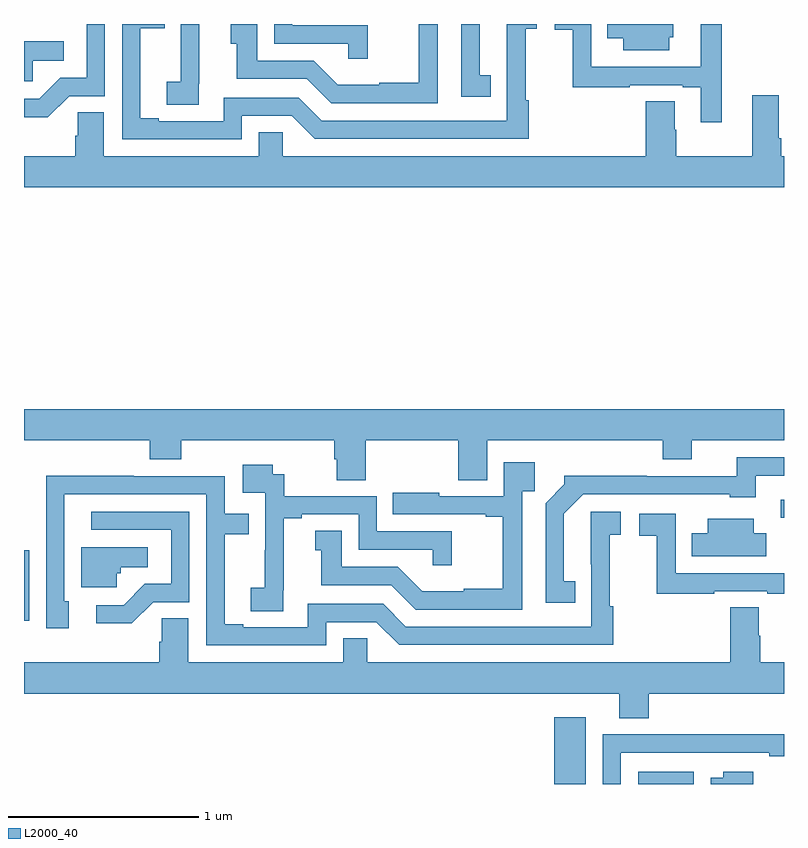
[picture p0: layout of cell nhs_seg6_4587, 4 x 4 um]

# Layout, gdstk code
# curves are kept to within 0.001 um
import gdstk
lib = gdstk.Library(unit=1e-6, precision=1e-09)
def R(c, l, rs):  # rectangles x0, y0, x1, y1
    for r in rs: c.add(gdstk.rectangle(r[:2], r[2:], *l))
def P(c, l, *ps):  # polygons
    for p in ps: c.add(gdstk.Polygon(p, *l))
L2000_40 = (2000, 40)

nhs_seg6_4587 = lib.new_cell('nhs_seg6_4587')
R(nhs_seg6_4587, L2000_40, [(383.792,973.5,383.956,973.852), (384.233,973.5,384.526,973.564), (381,974.358,381.027,974.731), (384.983,974.901,385,974.995)])
P(nhs_seg6_4587, L2000_40, [(384.673,977.5),(384.563,977.5),(384.563,977.274),(383.986,977.274),(383.986,977.275),(383.985,977.275),(383.985,977.5),(383.793,977.5),(383.793,977.47),(383.887,977.47),(383.887,977.166),(384.188,977.166),(384.188,977.178),(384.467,977.178),(384.467,977.166),(384.563,977.166),(384.563,976.983),(384.673,976.983)],
  [(382.808,977.493),(382.413,977.493),(382.413,977.5),(382.317,977.5),(382.317,977.397),(382.707,977.397),(382.707,977.316),(382.808,977.316)],
  [(383.178,977.5),(383.077,977.5),(383.077,977.191),(382.871,977.191),(382.871,977.179),(382.652,977.179),(382.524,977.307),(382.228,977.307),(382.228,977.498),(382.088,977.498),(382.088,977.395),(382.121,977.395),(382.121,977.211),(382.488,977.211),(382.617,977.082),(383.178,977.082)],
  [(381.92,977.185),(381.922,977.185),(381.922,977.5),(381.825,977.5),(381.825,977.393),(381.824,977.393),(381.824,977.196),(381.75,977.196),(381.75,977.074),(381.92,977.074)],
  [(383.456,977.231),(383.398,977.231),(383.398,977.5),(383.301,977.5),(383.301,977.118),(383.456,977.118)],
  [(382.146,977.016),(382.41,977.016),(382.53,976.896),(383.657,976.896),(383.657,977.099),(383.64,977.099),(383.64,977.475),(383.698,977.475),(383.698,977.5),(383.54,977.5),(383.541,976.992),(382.566,976.992),(382.446,977.112),(382.05,977.112),(382.05,976.989),(381.709,976.989),(381.709,977.004),(381.613,977.004),(381.613,977.478),(381.74,977.478),(381.74,977.5),(381.516,977.5),(381.516,976.893),(382.146,976.893)],
  [(384.397,977.43),(384.418,977.43),(384.418,977.5),(384.07,977.5),(384.07,977.426),(384.155,977.426),(384.155,977.363),(384.397,977.363)],
  [(381.237,977.121),(381.426,977.121),(381.426,977.5),(381.33,977.5),(381.33,977.217),(381.192,977.217),(381.081,977.106),(381,977.106),(381,977.009),(381.124,977.009)],
  [(381.045,977.306),(381.208,977.306),(381.208,977.41),(381,977.41),(381,977.199),(381.045,977.199)],
  [(385,976.804),(384.986,976.804),(384.986,976.9),(384.973,976.9),(384.973,977.125),(384.833,977.125),(384.833,976.804),(384.432,976.804),(384.432,976.943),(384.424,976.943),(384.424,977.093),(384.272,977.093),(384.272,976.804),(382.362,976.804),(382.362,976.931),(382.235,976.931),(382.235,976.804),(381.421,976.804),(381.421,977.036),(381.282,977.036),(381.282,976.913),(381.269,976.913),(381.269,976.804),(381,976.804),(381,976.64),(385,976.64)],
  [(381,975.308),(381.662,975.308),(381.662,975.209),(381.827,975.209),(381.827,975.308),(382.634,975.308),(382.634,975.21),(382.646,975.21),(382.646,975.1),(382.799,975.1),(382.799,975.308),(383.285,975.308),(383.285,975.1),(383.437,975.1),(383.437,975.308),(384.362,975.308),(384.362,975.209),(384.514,975.209),(384.514,975.308),(385,975.308),(385,975.472),(381,975.472)],
  [(383.9,974.567),(383.842,974.567),(383.842,974.923),(383.943,975.024),(384.714,975.024),(384.714,975.008),(384.85,975.008),(384.85,975.123),(385,975.123),(385,975.219),(384.751,975.219),(384.751,975.12),(384.278,975.12),(384.278,975.122),(383.844,975.122),(383.844,975.077),(383.745,974.978),(383.745,974.454),(383.9,974.454)],
  [(383.622,975.041),(383.687,975.041),(383.687,975.193),(383.526,975.193),(383.526,975.015),(383.185,975.015),(383.185,975.034),(382.942,975.034),(382.942,974.919),(383.429,974.919),(383.429,974.907),(383.521,974.907),(383.521,974.527),(383.315,974.527),(383.315,974.515),(383.096,974.515),(382.968,974.643),(382.672,974.643),(382.672,974.834),(382.532,974.834),(382.532,974.731),(382.565,974.731),(382.565,974.547),(382.932,974.547),(383.061,974.418),(383.622,974.418)],
  [(382.364,974.521),(382.366,974.521),(382.366,974.899),(382.462,974.899),(382.462,974.919),(382.761,974.919),(382.761,974.733),(383.151,974.733),(383.151,974.652),(383.252,974.652),(383.252,974.829),(382.857,974.829),(382.857,975.015),(382.37,975.015),(382.37,975.129),(382.308,975.129),(382.308,975.181),(382.152,975.181),(382.152,975.033),(382.269,975.033),(382.269,974.729),(382.268,974.729),(382.268,974.532),(382.194,974.532),(382.194,974.41),(382.364,974.41)],
  [(382.59,974.352),(382.854,974.352),(382.974,974.232),(384.101,974.232),(384.101,974.435),(384.084,974.435),(384.084,974.811),(384.142,974.811),(384.142,974.932),(383.984,974.932),(383.985,974.328),(383.01,974.328),(382.89,974.448),(382.494,974.448),(382.494,974.325),(382.153,974.325),(382.153,974.34),(382.057,974.34),(382.057,974.814),(382.184,974.814),(382.184,974.922),(382.056,974.922),(382.056,975.12),(381.578,975.12),(381.578,975.122),(381.116,975.122),(381.117,974.319),(381.235,974.319),(381.235,974.463),(381.213,974.463),(381.213,975.024),(381.96,975.024),(381.96,974.229),(382.59,974.229)],
  [(381.681,974.457),(381.87,974.457),(381.87,974.934),(381.354,974.934),(381.354,974.838),(381.774,974.838),(381.774,974.553),(381.636,974.553),(381.525,974.442),(381.381,974.442),(381.381,974.345),(381.568,974.345)],
  [(384.632,974.514),(384.911,974.514),(384.911,974.502),(385,974.502),(385,974.61),(384.429,974.61),(384.429,974.922),(384.237,974.922),(384.237,974.806),(384.331,974.806),(384.331,974.502),(384.632,974.502)],
  [(384.907,974.821),(384.841,974.821),(384.841,974.896),(384.599,974.896),(384.599,974.821),(384.514,974.821),(384.514,974.699),(384.907,974.699)],
  [(381.489,974.61),(381.508,974.61),(381.508,974.642),(381.652,974.642),(381.652,974.746),(381.302,974.746),(381.302,974.535),(381.489,974.535)],
  [(384.287,973.976),(385,973.976),(385,974.14),(384.876,974.14),(384.876,974.279),(384.868,974.279),(384.868,974.429),(384.716,974.429),(384.716,974.14),(382.806,974.14),(382.806,974.267),(382.679,974.267),(382.679,974.14),(381.865,974.14),(381.865,974.372),(381.726,974.372),(381.726,974.249),(381.713,974.249),(381.713,974.14),(381,974.14),(381,973.976),(384.134,973.976),(384.134,973.846),(384.287,973.846)],
  [(384.141,973.665),(384.923,973.665),(384.923,973.645),(385,973.645),(385,973.763),(384.37,973.763),(384.37,973.761),(384.045,973.761),(384.045,973.5),(384.141,973.5)],
  [(384.838,973.564),(384.68,973.564),(384.68,973.534),(384.614,973.534),(384.614,973.5),(384.838,973.5)])

lib.write_gds('nhs_seg6_4587.gds')
